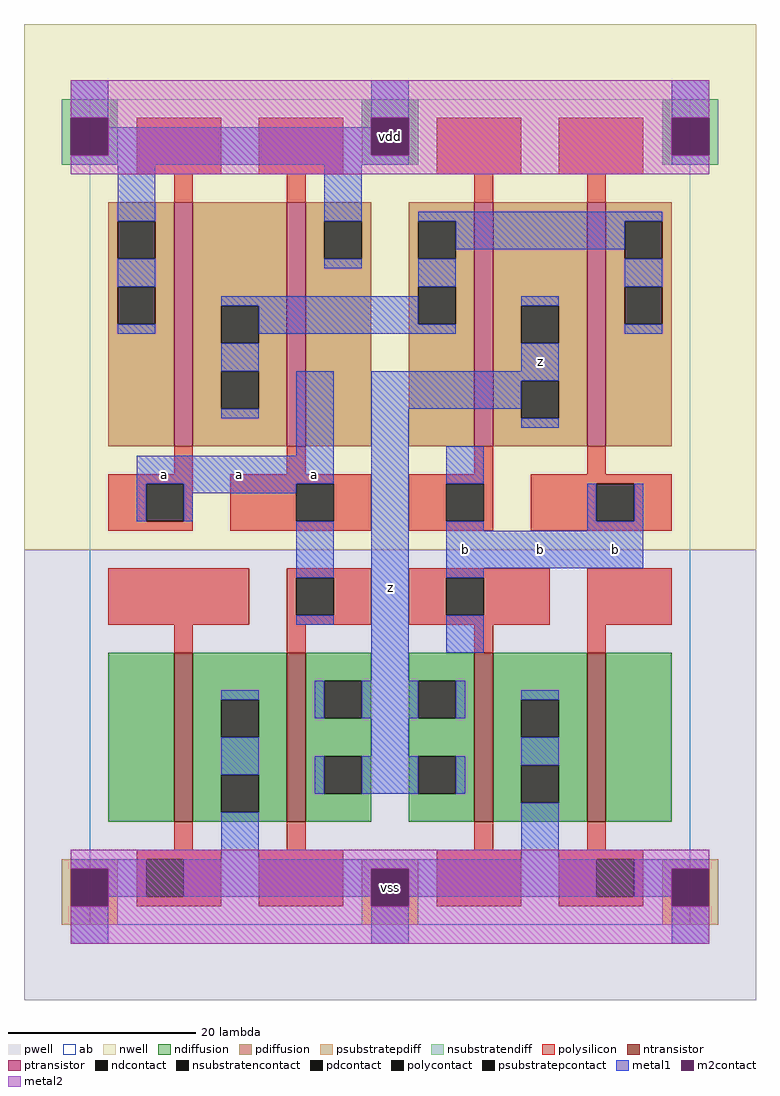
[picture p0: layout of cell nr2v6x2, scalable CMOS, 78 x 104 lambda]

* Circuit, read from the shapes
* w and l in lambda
.subckt nr2v6x2 a b vdd vss z
M1 vss vss n1 vss nfet w=18 l=2
M2 z a vss vss nfet w=18 l=2
M3 vss b z vss nfet w=18 l=2
M4 n2 vss vss vss nfet w=18 l=2
M5 n3 a vdd vdd pfet w=26 l=2 m=2
M6 z b n3 vdd pfet w=26 l=2 m=2
.ends

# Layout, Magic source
magic
tech scmos
<< ab >>
rect 0 0 64 88
<< pwell >>
rect -7 -8 71 40
<< nwell >>
rect -7 40 71 96
<< polysilicon >>
rect 5 80 14 86
rect 18 80 27 86
rect 37 80 46 86
rect 50 80 59 86
rect 9 77 11 80
rect 21 77 23 80
rect 41 77 43 80
rect 53 77 55 80
rect 9 48 11 51
rect 21 48 23 51
rect 41 48 43 51
rect 53 48 55 51
rect 2 47 11 48
rect 2 43 6 47
rect 10 43 11 47
rect 2 42 11 43
rect 15 47 30 48
rect 15 43 22 47
rect 26 43 30 47
rect 15 42 30 43
rect 34 47 43 48
rect 34 43 38 47
rect 42 43 43 47
rect 34 42 43 43
rect 47 47 62 48
rect 47 43 54 47
rect 58 43 62 47
rect 47 42 62 43
rect 2 32 17 38
rect 21 37 30 38
rect 21 33 22 37
rect 26 33 30 37
rect 21 32 30 33
rect 34 37 49 38
rect 34 33 38 37
rect 42 33 49 37
rect 34 32 49 33
rect 53 32 62 38
rect 9 29 11 32
rect 21 29 23 32
rect 41 29 43 32
rect 53 29 55 32
rect 9 8 11 11
rect 21 8 23 11
rect 41 8 43 11
rect 53 8 55 11
rect 5 7 14 8
rect 5 3 6 7
rect 10 3 14 7
rect 5 2 14 3
rect 18 2 27 8
rect 37 2 46 8
rect 50 7 59 8
rect 50 3 54 7
rect 58 3 59 7
rect 50 2 59 3
<< ndiffusion >>
rect 2 11 9 29
rect 11 24 21 29
rect 11 20 14 24
rect 18 20 21 24
rect 11 16 21 20
rect 11 12 14 16
rect 18 12 21 16
rect 11 11 21 12
rect 23 26 30 29
rect 23 22 25 26
rect 29 22 30 26
rect 23 18 30 22
rect 23 14 25 18
rect 29 14 30 18
rect 23 11 30 14
rect 34 26 41 29
rect 34 22 35 26
rect 39 22 41 26
rect 34 18 41 22
rect 34 14 35 18
rect 39 14 41 18
rect 34 11 41 14
rect 43 24 53 29
rect 43 20 46 24
rect 50 20 53 24
rect 43 17 53 20
rect 43 13 46 17
rect 50 13 53 17
rect 43 11 53 13
rect 55 11 62 29
<< pdiffusion >>
rect 2 75 9 77
rect 2 71 3 75
rect 7 71 9 75
rect 2 68 9 71
rect 2 64 3 68
rect 7 64 9 68
rect 2 51 9 64
rect 11 66 21 77
rect 11 62 14 66
rect 18 62 21 66
rect 11 59 21 62
rect 11 55 14 59
rect 18 55 21 59
rect 11 51 21 55
rect 23 75 30 77
rect 23 71 25 75
rect 29 71 30 75
rect 23 51 30 71
rect 34 75 41 77
rect 34 71 35 75
rect 39 71 41 75
rect 34 68 41 71
rect 34 64 35 68
rect 39 64 41 68
rect 34 51 41 64
rect 43 66 53 77
rect 43 62 46 66
rect 50 62 53 66
rect 43 58 53 62
rect 43 54 46 58
rect 50 54 53 58
rect 43 51 53 54
rect 55 75 62 77
rect 55 71 57 75
rect 61 71 62 75
rect 55 68 62 71
rect 55 64 57 68
rect 61 64 62 68
rect 55 51 62 64
<< metal1 >>
rect -2 86 2 90
rect 30 86 34 90
rect 2 82 30 85
rect -2 81 34 82
rect 62 86 66 90
rect 62 81 66 82
rect 3 75 7 81
rect 3 68 7 71
rect 25 75 29 81
rect 25 70 29 71
rect 35 75 61 76
rect 39 72 57 75
rect 35 68 39 71
rect 3 63 7 64
rect 14 66 35 67
rect 18 64 35 66
rect 57 68 61 71
rect 18 63 39 64
rect 46 66 50 67
rect 14 59 18 62
rect 57 63 61 64
rect 46 59 50 62
rect 14 54 18 55
rect 22 50 26 59
rect 5 47 26 50
rect 5 43 6 47
rect 10 46 22 47
rect 10 43 11 46
rect 22 37 26 43
rect 22 32 26 33
rect 30 58 50 59
rect 30 55 46 58
rect 30 26 34 55
rect 46 53 50 54
rect 38 47 42 51
rect 38 42 42 43
rect 53 43 54 47
rect 58 43 59 47
rect 53 42 59 43
rect 38 38 59 42
rect 38 37 42 38
rect 38 29 42 33
rect 14 24 18 25
rect 24 22 25 26
rect 29 22 35 26
rect 39 22 40 26
rect 46 24 50 25
rect 14 16 18 20
rect 30 18 34 22
rect 24 14 25 18
rect 29 14 35 18
rect 39 14 40 18
rect 46 17 50 20
rect 14 7 18 12
rect 46 7 50 13
rect -2 6 6 7
rect 2 3 6 6
rect 10 6 54 7
rect 10 3 30 6
rect -2 -2 2 2
rect 34 3 54 6
rect 58 6 66 7
rect 58 3 62 6
rect 30 -2 34 2
rect 62 -2 66 2
<< metal2 >>
rect -2 86 66 90
rect 2 82 30 86
rect 34 82 62 86
rect -2 80 66 82
rect -2 6 66 8
rect 2 2 30 6
rect 34 2 62 6
rect -2 -2 66 2
<< ntransistor >>
rect 9 11 11 29
rect 21 11 23 29
rect 41 11 43 29
rect 53 11 55 29
<< ptransistor >>
rect 9 51 11 77
rect 21 51 23 77
rect 41 51 43 77
rect 53 51 55 77
<< polycontact >>
rect 6 43 10 47
rect 22 43 26 47
rect 38 43 42 47
rect 54 43 58 47
rect 22 33 26 37
rect 38 33 42 37
rect 6 3 10 7
rect 54 3 58 7
<< ndcontact >>
rect 14 20 18 24
rect 14 12 18 16
rect 25 22 29 26
rect 25 14 29 18
rect 35 22 39 26
rect 35 14 39 18
rect 46 20 50 24
rect 46 13 50 17
<< pdcontact >>
rect 3 71 7 75
rect 3 64 7 68
rect 14 62 18 66
rect 14 55 18 59
rect 25 71 29 75
rect 35 71 39 75
rect 35 64 39 68
rect 46 62 50 66
rect 46 54 50 58
rect 57 71 61 75
rect 57 64 61 68
<< m2contact >>
rect -2 82 2 86
rect 30 82 34 86
rect 62 82 66 86
rect -2 2 2 6
rect 30 2 34 6
rect 62 2 66 6
<< psubstratepcontact >>
rect -2 2 2 6
rect 30 2 34 6
rect 62 2 66 6
<< nsubstratencontact >>
rect -2 82 2 86
rect 30 82 34 86
rect 62 82 66 86
<< psubstratepdiff >>
rect -3 6 3 7
rect -3 2 -2 6
rect 2 2 3 6
rect 29 6 35 7
rect 29 2 30 6
rect 34 2 35 6
rect 61 6 67 7
rect 61 2 62 6
rect 66 2 67 6
rect -3 0 3 2
rect 29 0 35 2
rect 61 0 67 2
<< nsubstratendiff >>
rect -3 86 3 88
rect 29 86 35 88
rect 61 86 67 88
rect -3 82 -2 86
rect 2 82 3 86
rect -3 81 3 82
rect 29 82 30 86
rect 34 82 35 86
rect 29 81 35 82
rect 61 82 62 86
rect 66 82 67 86
rect 61 81 67 82
<< labels >>
rlabel metal1 8 48 8 48 6 a
rlabel metal1 24 48 24 48 6 a
rlabel metal1 16 48 16 48 6 a
rlabel metal1 32 36 32 36 6 z
rlabel metal1 40 40 40 40 6 b
rlabel metal1 48 40 48 40 6 b
rlabel metal1 56 40 56 40 6 b
rlabel metal1 48 60 48 60 6 z
rlabel m2contact 32 4 32 4 6 vss
rlabel m2contact 32 84 32 84 6 vdd
<< end >>
